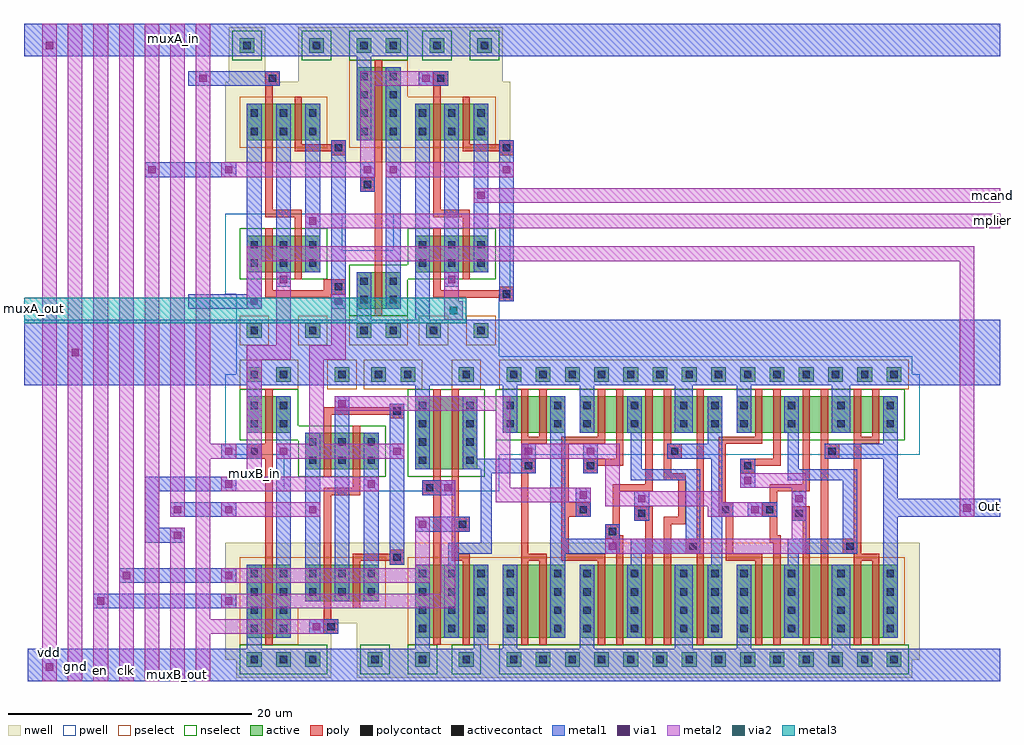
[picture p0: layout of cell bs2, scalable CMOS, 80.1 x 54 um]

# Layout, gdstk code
import gdstk
lib = gdstk.Library(unit=1e-6, precision=1e-09)
def R(c, l, rs):  # rectangles x0, y0, x1, y1
    for r in rs: c.add(gdstk.rectangle(r[:2], r[2:], *l))
def A(c, l, x, y, w, h, nx, ny, dx, dy):  # array of equal rectangles
    R(c, l, [(x+i*dx, y+j*dy, x+i*dx+w, y+j*dy+h) for i in range(nx) for j in range(ny)])
pwell = (41, 0)
nwell = (42, 0)
active = (43, 0)
pselect = (44, 0)
nselect = (45, 0)
poly = (46, 0)
polycontact = (47, 0)
activecontact = (48, 0)
metal1 = (49, 0)
via1 = (50, 0)
metal2 = (51, 0)
via2 = (61, 0)
metal3 = (62, 0)

c_______mux21_magic_mux21 = lib.new_cell('______mux21_magic_mux21')
R(c_______mux21_magic_mux21, pwell, [(-7.8,-11.7,0,-7.2), (-8.7,-7.2,0.9,-0.6)])
R(c_______mux21_magic_mux21, nwell, [(-8.7,3.6,0.9,10.2), (-8.4,10.2,-5.4,14.7), (-2.7,10.2,0.3,14.7)])
R(c_______mux21_magic_mux21, active, [(-6.9,-10.8,-5.7,-9.6), (-2.1,-10.8,-0.9,-9.6), (-6.9,-5.4,-0.9,-2.4), (-6.9,5.4,-0.9,8.4), (-7.5,12.6,-6.3,13.8), (-1.8,12.6,-0.6,13.8)])
R(c_______mux21_magic_mux21, pselect, [(-7.5,-11.4,-5.1,-9), (-2.7,-11.4,-0.3,-9), (-7.5,4.8,-0.3,9)])
R(c_______mux21_magic_mux21, nselect, [(-7.5,-6,-0.3,-1.8), (-8.1,12,-5.7,14.4), (-2.4,12,0,14.4)])
R(c_______mux21_magic_mux21, poly, [(-5.4,-7.5,0,-7.2), (-5.4,-7.2,1.2,-6.9), (-5.4,-6.9,-4.8,-1.8), (-0.6,-6.9,1.2,-6), (-3,-6,-2.4,-0.9), (-5.4,-0.9,-2.4,-0.3), (-5.4,-0.3,-4.8,9.9), (0,4.2,1.2,4.5), (-3,4.5,1.2,5.1), (-3,5.1,-2.4,9), (0,5.1,1.2,5.4), (-5.4,9.9,-4.2,11.1)])
R(c_______mux21_magic_mux21, polycontact, [(0.3,-6.9,0.9,-6.3), (0.3,4.5,0.9,5.1), (-5.1,10.2,-4.5,10.8)])
A(c_______mux21_magic_mux21, activecontact, -6.6, -4.95, 0.6, 0.6, 3, 2, 2.4, 1.5)
A(c_______mux21_magic_mux21, activecontact, -6.6, 5.85, 0.6, 0.6, 3, 2, 2.4, 1.5)
R(c_______mux21_magic_mux21, activecontact, [(-6.6,-10.5,-6,-9.9), (-1.8,-10.5,-1.2,-9.9), (-7.2,12.9,-6.6,13.5), (-1.5,12.9,-0.9,13.5)])
R(c_______mux21_magic_mux21, metal1, [(-9,-11.1,1.2,-9.3), (-9,-8.4,-5.7,-7.2), (-6.9,-7.2,-5.7,8.4), (0,-7.2,1.2,5.4), (-4.5,-5.4,-3.3,8.4), (-2.1,-5.4,-0.9,8.4), (-6.6,9.9,-4.2,11.1), (-9,12.3,1.2,14.1)])
c_______mux21_magic_mux21.add(gdstk.Label('Vdd', (-0.9,12.9), layer=49, texttype=0))
c_______mux21_magic_mux21.add(gdstk.Label('In_0', (-8.4,-7.8), layer=49, texttype=0))
c_______mux21_magic_mux21.add(gdstk.Label('in_1', (-1.5,3.15), layer=49, texttype=0))
c_______mux21_magic_mux21.add(gdstk.Label('Out', (-3.9,2.7), layer=49, texttype=0))
c_______mux21_magic_mux21.add(gdstk.Label('Sel_bar', (0.6,4.8), layer=49, texttype=0))
c_______mux21_magic_mux21.add(gdstk.Label('sel', (-6,10.5), layer=49, texttype=0))

c_______inv_magic_inverter = lib.new_cell('______inv_magic_inverter')
R(c_______inv_magic_inverter, pwell, [(-0.3,-0.9,5.1,0.6), (-1.2,0.6,6,7.2)])
R(c_______inv_magic_inverter, nwell, [(-1.2,14.4,6,24), (-0.3,24,5.1,25.5)])
R(c_______inv_magic_inverter, active, [(0.6,0,1.8,1.2), (3,0,4.2,1.2), (0.6,2.4,4.2,5.4), (0.6,16.2,4.2,22.2), (0.6,23.4,1.8,24.6), (3,23.4,4.2,24.6)])
R(c_______inv_magic_inverter, pselect, [(0,-0.6,4.8,1.8), (0,15.6,4.8,22.8)])
R(c_______inv_magic_inverter, nselect, [(0,1.8,4.8,6), (0,22.8,4.8,25.2)])
R(c_______inv_magic_inverter, poly, [(2.1,1.8,2.7,6.3), (0.6,6.3,2.7,7.5), (2.1,7.5,2.7,22.8)])
R(c_______inv_magic_inverter, polycontact, [(0.9,6.6,1.5,7.2)])
A(c_______inv_magic_inverter, activecontact, 0.9, 16.65, 0.6, 0.6, 1, 4, 0, 1.5)
A(c_______inv_magic_inverter, activecontact, 3.3, 16.65, 0.6, 0.6, 1, 4, 0, 1.5)
R(c_______inv_magic_inverter, activecontact, [(0.9,0.3,1.5,0.9), (3.3,0.3,3.9,0.9), (0.9,2.85,1.5,3.45), (3.3,2.85,3.9,3.45), (0.9,4.35,1.5,4.95), (3.3,4.35,3.9,4.95), (0.9,23.7,1.5,24.3), (3.3,23.7,3.9,24.3)])
R(c_______inv_magic_inverter, metal1, [(-1.2,-0.3,6,1.5), (0.6,1.5,1.8,5.4), (3,2.4,4.2,22.2), (-1.2,6.3,1.8,7.5), (0.6,16.2,1.8,23.1), (-1.2,23.1,6,24.9)])
c_______inv_magic_inverter.add(gdstk.Label('Y', (3.6,7.8), layer=49, texttype=0))
c_______inv_magic_inverter.add(gdstk.Label('A', (-0.6,6.6), layer=49, texttype=0))
c_______inv_magic_inverter.add(gdstk.Label('vdd', (0,24), layer=49, texttype=0))
c_______inv_magic_inverter.add(gdstk.Label('gnd', (0,0.6), layer=49, texttype=0))

c_______bc1a_magic_bc1a = lib.new_cell('______bc1a_magic_bc1a')
R(c_______bc1a_magic_bc1a, pwell, [(7.5,11.1,17.1,17.7), (9.9,17.7,16.8,20.7), (9,20.7,16.8,22.2), (3.6,22.2,11.4,22.8)])
R(c_______bc1a_magic_bc1a, nwell, [(8.4,-4.2,11.4,0.3), (13.5,-4.2,16.5,0.3), (7.5,0.3,17.1,6.9)])
R(c_______bc1a_magic_bc1a, active, [(9.3,-3.3,10.5,-2.1), (14.4,-3.3,15.6,-2.1), (9.3,2.1,15.3,5.1), (9.3,12.9,15.3,15.9), (11.7,20.1,12.9,21.3), (14.7,20.1,15.9,21.3)])
R(c_______bc1a_magic_bc1a, pselect, [(8.7,1.5,15.9,5.7), (11.1,19.5,13.5,21.9), (14.1,19.5,16.5,21.9)])
R(c_______bc1a_magic_bc1a, nselect, [(8.7,-3.9,11.1,-1.5), (13.8,-3.9,16.2,-1.5), (8.7,12.3,15.9,16.5)])
R(c_______bc1a_magic_bc1a, poly, [(10.8,-0.6,12,0.6), (10.8,0.6,11.4,10.8), (13.2,1.5,13.8,5.4), (16.2,5.1,17.4,5.4), (13.2,5.4,17.4,6), (16.2,6,17.4,6.3), (10.8,10.8,13.8,11.4), (13.2,11.4,13.8,16.5), (10.8,12.3,11.4,17.4), (16.2,17.1,17.4,17.4), (10.8,17.4,17.4,18), (16.2,18,17.4,18.3)])
R(c_______bc1a_magic_bc1a, polycontact, [(11.1,-0.3,11.7,0.3), (16.5,5.4,17.1,6), (16.5,17.4,17.1,18)])
A(c_______bc1a_magic_bc1a, activecontact, 9.6, 2.55, 0.6, 0.6, 3, 2, 2.4, 1.5)
A(c_______bc1a_magic_bc1a, activecontact, 9.6, 13.35, 0.6, 0.6, 3, 2, 2.4, 1.5)
R(c_______bc1a_magic_bc1a, activecontact, [(9.6,-3,10.2,-2.4), (14.7,-3,15.3,-2.4), (12,20.4,12.6,21), (15,20.4,15.6,21)])
R(c_______bc1a_magic_bc1a, metal1, [(-0.3,-3.6,2.7,-1.8), (9,-3.6,19.2,-2.1), (9,-2.1,17.4,-1.8), (9.6,-0.6,12,0.6), (9.3,2.1,10.5,15.9), (11.7,2.1,12.9,18.9), (14.1,2.1,15.3,15.9), (16.2,5.1,17.4,18.3), (6.9,7.8,8.1,9), (-0.3,9,3.6,10.2), (-0.3,11.1,3.6,12.3), (2.4,13.8,3.6,15), (6.9,13.8,8.1,15), (-0.3,19.8,2.7,21.3), (9,19.8,17.4,21.3), (-0.3,21.3,17.4,21.6), (-0.3,21.6,19.2,23.4), (-0.3,23.4,9,23.7), (9.9,23.4,19.2,24), (-0.3,23.7,8.4,24.9), (12.6,24,18.3,25.2), (-0.3,24.9,9,25.2), (-0.3,26.1,3.6,27.3), (11.4,26.1,12.6,27.3), (11.4,27.9,12.6,29.1), (6.9,35.4,8.1,36.6), (-0.3,44.4,6,45.6), (-0.3,46.8,9,48.6), (13.8,46.8,18.3,48.6)])
R(c_______bc1a_magic_bc1a, via1, [(9.9,-0.3,10.5,0.3), (2.7,9.3,3.3,9.9), (9.6,9.3,10.2,9.9), (2.7,11.4,3.3,12), (14.4,11.4,15,12), (2.7,14.1,3.3,14.7), (7.2,14.1,7.8,14.7), (16.5,14.1,17.1,14.7), (12,18,12.6,18.6), (11.7,26.4,12.3,27), (0.6,44.7,1.2,45.3)])
R(c_______bc1a_magic_bc1a, metal2, [(0.3,-0.6,10.8,0.6), (0.3,0.6,1.5,13.8), (9,1.5,18.6,2.7), (9,3.6,18.6,4.8), (2.4,9,10.5,10.2), (2.4,11.1,15.3,12.3), (0.3,13.8,3.6,15), (6.9,13.8,17.4,15), (0.3,15,1.5,45.6), (9.6,15,10.8,21.9), (11.7,17.7,17.4,18.9), (9.6,21.9,12.6,23.1), (11.4,23.1,12.6,27.3)])
c_______bc1a_magic_bc1a.add(gdstk.Reference(c_______mux21_magic_mux21, (11.4,34.5)))
c_______bc1a_magic_bc1a.add(gdstk.Reference(c_______inv_magic_inverter, (3.9,21.3), x_reflection=True))
c_______bc1a_magic_bc1a.add(gdstk.Label('a_in', (4.2,9.6), layer=51, texttype=0))
c_______bc1a_magic_bc1a.add(gdstk.Label('b_in', (4.2,11.7), layer=51, texttype=0))
c_______bc1a_magic_bc1a.add(gdstk.Label('gnd', (2.4,22.5), layer=49, texttype=0))
c_______bc1a_magic_bc1a.add(gdstk.Label('reg_in', (2.1,26.7), layer=49, texttype=0))

c_______nand_magic_nand = lib.new_cell('______nand_magic_nand')
R(c_______nand_magic_nand, pwell, [(-1.5,-1.5,6.3,0), (-1.5,0,7.5,1.5), (-1.2,1.5,7.5,9.6)])
R(c_______nand_magic_nand, nwell, [(-1.2,13.8,8.4,23.4), (-0.3,23.4,6.3,24.9)])
R(c_______nand_magic_nand, active, [(-0.6,-0.6,0.6,0.6), (4.2,-0.6,5.4,0.6), (0.6,1.8,5.7,7.8), (0.6,15.6,6.6,21.6), (0.6,22.8,1.8,24), (4.2,22.8,5.4,24)])
R(c_______nand_magic_nand, pselect, [(-1.2,-1.2,1.2,1.2), (3.6,-1.2,6,1.2), (0,15,7.2,22.2)])
R(c_______nand_magic_nand, nselect, [(0,1.2,6.3,8.4), (0,22.2,2.4,24.6), (3.6,22.2,6,24.6)])
R(c_______nand_magic_nand, poly, [(2.1,1.2,2.7,8.7), (3.6,1.2,4.2,11.7), (1.2,8.7,2.7,9.9), (2.1,9.9,2.7,22.2), (3.6,11.7,5.1,12.9), (3.6,12.9,4.2,14.7), (3.6,14.7,5.1,15.3), (4.5,15.3,5.1,22.2)])
R(c_______nand_magic_nand, polycontact, [(1.5,9,2.1,9.6), (4.2,12,4.8,12.6)])
A(c_______nand_magic_nand, activecontact, 0.9, 2.25, 0.6, 0.6, 1, 4, 0, 1.5)
A(c_______nand_magic_nand, activecontact, 4.8, 2.25, 0.6, 0.6, 1, 4, 0, 1.5)
A(c_______nand_magic_nand, activecontact, 0.9, 16.05, 0.6, 0.6, 3, 4, 2.4, 1.5)
R(c_______nand_magic_nand, activecontact, [(-0.3,-0.3,0.3,0.3), (4.5,-0.3,5.1,0.3), (0.9,23.1,1.5,23.7), (4.5,23.1,5.1,23.7)])
R(c_______nand_magic_nand, metal1, [(-1.2,-0.9,8.4,0.9), (0.6,0.9,1.8,7.8), (4.5,1.8,5.7,6.9), (4.5,6.9,6.9,7.8), (6,7.8,6.9,13.8), (1.2,8.7,2.4,9.9), (0.6,11.7,5.1,12.9), (3.3,13.8,6.9,14.7), (3.3,14.7,4.2,15.6), (0.6,15.6,1.8,22.5), (3,15.6,4.2,21.6), (5.4,15.6,6.6,22.5), (-1.2,22.5,8.4,23.7), (-0.3,23.7,8.4,24.3)])
c_______nand_magic_nand.add(gdstk.Label('gnd', (3,0), layer=49, texttype=0))
c_______nand_magic_nand.add(gdstk.Label('vdd', (3,23.4), layer=49, texttype=0))
c_______nand_magic_nand.add(gdstk.Label('A', (2.4,8.4), layer=46, texttype=0))
c_______nand_magic_nand.add(gdstk.Label('B', (3.9,8.4), layer=46, texttype=0))

c_______dffpos_magic_dffpo = lib.new_cell('______dffpos_magic_dffpos')
R(c_______dffpos_magic_dffpo, pwell, [(6.6,17.7,42.6,24.3), (7.8,24.3,42,25.8)])
R(c_______dffpos_magic_dffpo, nwell, [(7.8,-0.6,42,0.9), (6.6,0.9,42.6,10.5)])
A(c_______dffpos_magic_dffpo, active, 8.7, 0.3, 1.2, 1.2, 14, 2, 2.4, 23.4)
R(c_______dffpos_magic_dffpo, active, [(8.4,2.7,13.5,8.7), (14.7,2.7,26.4,8.7), (27.6,2.7,40.8,8.7), (8.4,19.5,13.5,22.5), (14.7,19.5,26.4,22.5), (27.6,19.5,40.8,22.5)])
R(c_______dffpos_magic_dffpo, pselect, [(7.8,2.1,41.4,9.3), (8.1,23.1,41.7,25.5)])
R(c_______dffpos_magic_dffpo, nselect, [(8.1,-0.3,41.7,2.1), (7.8,18.9,41.4,23.1)])
R(c_______dffpos_magic_dffpo, poly, [(9.9,2.1,10.5,9), (11.4,2.1,12,9), (16.2,2.1,16.8,9), (17.7,2.1,18.3,10.5), (20.1,2.1,20.7,12.3), (21.6,2.1,22.2,12), (24.3,2.1,24.9,9.6), (29.1,2.1,29.7,9), (30.6,2.1,31.2,10.5), (33,2.1,33.6,12.3), (34.5,2.1,35.1,17.4), (37.2,2.1,37.8,9), (38.7,2.1,39.3,9), (9.9,9,12,9.6), (13.2,9,16.8,9.6), (26.7,9,29.7,9.6), (37.2,9,39.3,9.6), (9.9,9.6,10.5,16.2), (13.2,9.6,13.8,12.6), (23.4,9.6,24.9,10.8), (26.7,9.6,27.3,12.6), (36.3,9.6,37.8,10.8), (17.4,10.5,18.3,10.8), (30.3,10.5,31.2,11.1), (16.8,10.8,18.3,11.1), (24.3,10.8,24.9,23.1), (37.2,10.8,37.8,18.6), (16.8,11.1,18,12), (30.3,11.1,30.9,12.6), (17.4,12,18,14.7), (21.6,12,23.4,12.6), (19.2,12.3,20.7,13.5), (32.1,12.3,33.6,13.5), (13.2,12.6,15.6,13.8), (22.8,12.6,23.4,15.6), (26.1,12.6,27.3,13.8), (29.7,12.6,30.9,13.8), (13.2,13.8,13.8,18.6), (26.1,13.8,26.7,18.6), (30.3,13.8,30.9,14.7), (17.4,14.7,20.7,15.3), (30.3,14.7,33.6,15.3), (20.1,15.3,20.7,23.1), (33,15.3,33.6,23.1), (21.6,15.6,23.4,16.2), (9.9,16.2,11.1,17.4), (15,16.2,16.2,16.8), (21.6,16.2,22.2,17.4), (27.9,16.2,29.1,16.8), (15,16.8,18.3,17.4), (27.9,16.8,31.2,17.4), (9.9,17.4,10.5,18.6), (17.7,17.4,18.3,23.1), (21.6,17.4,23.1,18.6), (30.6,17.4,31.2,23.1), (34.5,17.4,36,18.6), (9.9,18.6,12,19.2), (13.2,18.6,16.8,19.2), (21.6,18.6,22.2,23.1), (26.1,18.6,29.7,19.2), (34.5,18.6,35.1,23.1), (37.2,18.6,39.3,19.2), (9.9,19.2,10.5,23.1), (11.4,19.2,12,23.1), (16.2,19.2,16.8,23.1), (29.1,19.2,29.7,23.1), (37.2,19.2,37.8,23.1), (38.7,19.2,39.3,23.1)])
R(c_______dffpos_magic_dffpo, polycontact, [(23.7,9.9,24.3,10.5), (36.6,9.9,37.2,10.5), (17.1,11.1,17.7,11.7), (19.5,12.6,20.1,13.2), (32.4,12.6,33,13.2), (14.7,12.9,15.3,13.5), (26.4,12.9,27,13.5), (30,12.9,30.6,13.5), (10.2,16.5,10.8,17.1), (15.3,16.5,15.9,17.1), (28.2,16.5,28.8,17.1), (22.2,17.7,22.8,18.3), (35.1,17.7,35.7,18.3)])
A(c_______dffpos_magic_dffpo, activecontact, 9, 0.6, 0.6, 0.6, 14, 2, 2.4, 23.4)
A(c_______dffpos_magic_dffpo, activecontact, 8.7, 3.15, 0.6, 0.6, 1, 4, 0, 1.5)
A(c_______dffpos_magic_dffpo, activecontact, 12.6, 3.15, 0.6, 0.6, 1, 4, 0, 1.5)
A(c_______dffpos_magic_dffpo, activecontact, 15, 3.15, 0.6, 0.6, 1, 4, 0, 1.5)
A(c_______dffpos_magic_dffpo, activecontact, 18.9, 3.15, 0.6, 0.6, 1, 4, 0, 1.5)
A(c_______dffpos_magic_dffpo, activecontact, 22.95, 3.15, 0.6, 0.6, 1, 4, 0, 1.5)
A(c_______dffpos_magic_dffpo, activecontact, 25.5, 3.15, 0.6, 0.6, 1, 4, 0, 1.5)
A(c_______dffpos_magic_dffpo, activecontact, 27.9, 3.15, 0.6, 0.6, 1, 4, 0, 1.5)
A(c_______dffpos_magic_dffpo, activecontact, 31.8, 3.15, 0.6, 0.6, 3, 4, 4.05, 1.5)
A(c_______dffpos_magic_dffpo, activecontact, 31.8, 19.95, 0.6, 0.6, 3, 2, 4.05, 1.5)
R(c_______dffpos_magic_dffpo, activecontact, [(8.7,19.95,9.3,20.55), (12.6,19.95,13.2,20.55), (15,19.95,15.6,20.55), (18.9,19.95,19.5,20.55), (22.95,19.95,23.55,20.55), (25.5,19.95,26.1,20.55), (27.9,19.95,28.5,20.55), (8.7,21.45,9.3,22.05), (12.6,21.45,13.2,22.05), (15,21.45,15.6,22.05), (18.9,21.45,19.5,22.05), (22.95,21.45,23.55,22.05), (25.5,21.45,26.1,22.05), (27.9,21.45,28.5,22.05)])
R(c_______dffpos_magic_dffpo, metal1, [(5.4,0,41.7,1.8), (8.4,1.8,9.6,8.7), (14.7,1.8,15.9,8.7), (22.5,1.8,24,8.7), (27.6,1.8,28.8,8.7), (35.4,1.8,36.9,8.7), (12.3,2.7,13.5,9.6), (18.6,2.7,19.8,8.7), (25.2,2.7,26.4,8.7), (31.5,2.7,32.7,8.7), (39.6,2.7,40.8,17.4), (18.9,8.7,19.8,9.6), (25.5,8.7,26.4,12.6), (31.8,8.7,32.7,9.6), (6.6,9.6,7.5,16.2), (12.3,9.6,18,10.8), (18.9,9.6,24.6,10.8), (31.8,9.6,37.5,10.8), (12.3,10.8,13.5,22.5), (16.8,10.8,18,12), (23.4,10.8,24.6,15.6), (36.3,10.8,37.5,15.6), (19.2,12.3,20.4,14.7), (32.1,12.3,33.3,14.7), (14.4,12.6,15.6,15), (25.5,12.6,27.3,13.8), (28.5,12.6,30.9,13.8), (25.5,13.8,26.4,17.4), (27.9,15,29.1,17.4), (18.9,15.6,24.6,16.5), (31.8,15.6,37.5,16.5), (6.6,16.2,11.1,17.4), (15,16.2,16.2,18.6), (18.9,16.5,19.8,19.5), (31.8,16.5,32.7,19.5), (9.9,17.4,11.1,18.6), (21.9,17.4,26.4,18.6), (34.8,17.4,40.8,18.6), (25.2,18.6,26.4,22.5), (39.6,18.6,40.8,22.5), (8.4,19.5,9.6,23.4), (14.7,19.5,15.9,23.4), (18.6,19.5,19.8,22.5), (22.5,19.5,24,23.4), (27.6,19.5,28.8,23.4), (31.5,19.5,32.7,22.5), (35.4,19.5,36.9,23.4), (5.4,23.4,41.7,25.2)])
R(c_______dffpos_magic_dffpo, via1, [(17.1,9.9,17.7,10.5), (28.8,12.9,29.4,13.5), (19.5,13.8,20.1,14.4), (32.4,13.8,33,14.4), (14.7,14.1,15.3,14.7), (28.2,15.3,28.8,15.9), (10.2,17.7,10.8,18.3), (15.3,17.7,15.9,18.3)])
R(c_______dffpos_magic_dffpo, metal2, [(16.8,9.6,33.3,10.8), (32.1,10.8,33.3,15), (25.2,12.6,29.7,13.5), (16.8,13.5,29.7,13.8), (7.8,13.8,15.6,15), (16.8,13.8,26.4,14.7), (16.8,14.7,18,17.4), (7.8,15,9,21.3), (27.9,15,33.3,16.2), (9.9,17.4,18,18.6), (6.6,21.3,9,22.5)])
c_______dffpos_magic_dffpo.add(gdstk.Label('D', (7.2,21.9), layer=51, texttype=0))
c_______dffpos_magic_dffpo.add(gdstk.Label('clk_b', (6.9,13.5), layer=49, texttype=0))
c_______dffpos_magic_dffpo.add(gdstk.Label('clk', (12.9,13.5), layer=49, texttype=0))
c_______dffpos_magic_dffpo.add(gdstk.Label('Q', (40.5,13.5), layer=49, texttype=0))

bs2 = lib.new_cell('bs2')
R(bs2, pwell, [(24,24.3,24.9,25.8), (11.4,25.8,25.2,30.9), (11.7,30.9,26.1,34.5), (16.5,34.5,26.1,37.5)])
R(bs2, nwell, [(16.5,-0.6,17.4,0.9), (24,-0.6,24.9,0.9), (11.7,41.7,26.1,48.3), (11.7,48.3,25.5,52.8)])
R(bs2, active, [(13.5,27.3,14.7,28.5), (15.9,27.3,17.1,28.5), (19.2,27.3,20.4,28.5), (23.1,27.3,24.3,28.5), (13.5,29.7,17.1,32.7), (18.3,32.7,24.3,35.7), (13.5,43.5,17.1,49.5), (18.3,43.5,24.3,46.5), (13.5,50.7,14.7,51.9), (15.9,50.7,17.1,51.9), (19.5,50.7,20.7,51.9), (23.4,50.7,24.6,51.9)])
R(bs2, pselect, [(12.9,26.7,17.7,29.1), (18.6,26.7,21,29.1), (22.5,26.7,24.9,29.1), (12.9,42.9,24.9,47.1), (12.9,47.1,17.7,50.1)])
R(bs2, nselect, [(12.9,29.1,17.7,32.1), (12.9,32.1,24.9,33.3), (17.7,33.3,24.9,36.3), (12.9,50.1,17.7,52.5), (18.9,50.1,21.3,52.5), (22.8,50.1,25.2,52.5)])
R(bs2, poly, [(15,29.1,15.6,39.3), (25.2,30.3,26.4,30.6), (19.8,30.6,26.4,31.2), (19.8,31.2,20.4,36.3), (25.2,31.2,26.4,31.5), (22.2,32.1,22.8,37.2), (19.8,37.2,22.8,37.8), (19.8,37.8,20.4,48), (13.8,39.3,15.6,40.5), (15,40.5,15.6,50.1), (25.2,42.3,26.4,42.6), (22.2,42.6,26.4,43.2), (22.2,43.2,22.8,47.1), (25.2,43.2,26.4,43.5), (19.8,48,21,49.2)])
R(bs2, polycontact, [(25.5,30.6,26.1,31.2), (14.1,39.6,14.7,40.2), (25.5,42.6,26.1,43.2), (20.1,48.3,20.7,48.9)])
A(bs2, activecontact, 18.6, 33.15, 0.6, 0.6, 3, 2, 2.4, 1.5)
A(bs2, activecontact, 13.8, 43.95, 0.6, 0.6, 5, 2, 2.4, 1.5)
R(bs2, activecontact, [(13.8,27.6,14.4,28.2), (16.2,27.6,16.8,28.2), (19.5,27.6,20.1,28.2), (23.4,27.6,24,28.2), (13.8,30.15,14.4,30.75), (16.2,30.15,16.8,30.75), (13.8,31.65,14.4,32.25), (16.2,31.65,16.8,32.25), (13.8,46.95,14.4,47.55), (16.2,46.95,16.8,47.55), (13.8,48.45,14.4,49.05), (16.2,48.45,16.8,49.05), (13.8,51,14.4,51.6), (16.2,51,16.8,51.6), (19.8,51,20.4,51.6), (23.7,51,24.3,51.6)])
R(bs2, metal1, [(-13.5,-0.9,66.3,0.3), (-13.5,0.3,26.1,1.8), (27.9,0.3,66.3,1.8), (-8.1,5.1,3.6,6.3), (-6,7.2,3.6,8.4), (-3.9,10.5,-0.6,11.7), (18.3,11.4,19.5,12.6), (20.1,11.4,21.3,12.6), (-3.9,11.7,-2.7,14.7), (-1.8,12.6,-0.3,13.8), (57.9,12.6,66.3,14.1), (19.8,14.4,21.6,15.6), (-3.9,14.7,-0.3,15.9), (25.8,16.2,26.1,17.4), (-13.8,23.4,-0.3,28.8), (19.2,23.4,26.1,24.9), (27.9,23.4,66.3,24.9), (19.2,24.9,66.3,26.7), (15.6,26.7,66.3,27.3), (13.2,27.3,66.3,28.8), (13.5,28.8,14.7,32.7), (18.3,28.8,19.5,46.5), (4.5,29.7,5.7,30.9), (15.9,29.7,17.1,49.5), (25.2,30.3,26.4,43.5), (6.9,31.5,8.1,32.7), (20.7,31.5,21.9,46.5), (23.1,32.7,24.3,46.5), (9.3,36.3,10.5,37.5), (6.9,38.4,8.1,39.6), (13.8,39.3,15,41.7), (-3.9,40.5,3.6,41.7), (13.5,43.5,14.7,50.4), (18.6,48,21,49.2), (-13.8,50.4,-0.3,52.2), (12.3,50.4,66.3,52.2), (-13.8,52.2,66.3,53.1)])
R(bs2, via1, [(-12,0,-11.4,0.6), (-7.8,5.4,-7.2,6), (2.7,5.4,3.3,6), (-5.7,7.5,-5.1,8.1), (2.7,7.5,3.3,8.1), (-1.5,10.8,-0.9,11.4), (18.6,11.7,19.2,12.3), (-1.5,12.9,-0.9,13.5), (63.3,13.05,63.9,13.65), (20.7,14.7,21.3,15.3), (-9.9,25.8,-9.3,26.4), (4.8,30,5.4,30.6), (7.2,31.8,7.8,32.4), (21,31.8,21.6,32.4), (9.6,36.6,10.2,37.2), (23.4,38.7,24,39.3), (-3.6,40.8,-3,41.4), (2.7,40.8,3.3,41.4), (14.1,40.8,14.7,41.4), (16.2,40.8,16.8,41.4), (25.5,40.8,26.1,41.4), (18.9,48.3,19.5,48.9), (-12,51,-11.4,51.6)])
A(bs2, metal2, -12.3, -0.9, 1.2, 54, 5, 1, 2.1, 0)
R(bs2, metal2, [(-1.8,-0.9,-0.6,11.7), (0.3,-0.9,1.5,3), (2.4,5.1,16.8,6.3), (18.6,5.1,21.6,6.3), (20.4,6.3,21.6,15.6), (2.4,7.2,16.8,8.4), (18.3,7.2,19.5,12.6), (-1.8,12.6,-0.6,53.1), (63,12.6,64.2,33.6), (4.5,15.6,5.7,25.5), (17.4,21.3,26.1,22.5), (4.5,25.5,8.1,26.7), (6.9,26.7,8.1,32.7), (20.7,28.8,22.2,30.3), (4.5,29.7,5.7,33.6), (20.7,30.3,21.9,32.7), (4.5,33.6,64.2,34.8), (9.3,36.3,66.3,37.5), (23.1,38.4,66.3,39.6), (2.4,40.5,15,41.7), (15.9,40.5,26.4,41.7), (13.8,41.7,15,48), (13.8,48,19.8,49.2), (0.3,49.2,1.5,53.1)])
R(bs2, via2, [(21.15,29.25,21.75,29.85)])
R(bs2, metal3, [(-13.8,28.5,22.5,30.6)])
bs2.add(gdstk.Reference(c_______bc1a_magic_bc1a, (0,3.6)))
bs2.add(gdstk.Reference(c_______nand_magic_nand, (17.7,24.3), x_reflection=True))
bs2.add(gdstk.Reference(c_______dffpos_magic_dffpo, (17.1,0)))
bs2.add(gdstk.Label('Out', (65.4,13.5), layer=49, texttype=0))
bs2.add(gdstk.Label('muxB_in', (5.1,16.2), layer=51, texttype=0))
bs2.add(gdstk.Label('muxA_in', (-1.5,51.9), layer=51, texttype=0))
bs2.add(gdstk.Label('muxB_out', (-1.2,-0.3), layer=51, texttype=0))
bs2.add(gdstk.Label('mplier', (65.7,36.9), layer=51, texttype=0))
bs2.add(gdstk.Label('mcand', (65.7,39), layer=51, texttype=0))
bs2.add(gdstk.Label('q0', (-3.3,51.9), layer=51, texttype=0))
bs2.add(gdstk.Label('vdd', (-11.7,1.5), layer=51, texttype=0))
bs2.add(gdstk.Label('gnd', (-9.6,0.3), layer=51, texttype=0))
bs2.add(gdstk.Label('en', (-7.5,0), layer=51, texttype=0))
bs2.add(gdstk.Label('clk', (-5.4,0), layer=51, texttype=0))
bs2.add(gdstk.Label('Init', (0.9,-0.3), layer=51, texttype=0))
bs2.add(gdstk.Label('muxA_out', (-12.9,29.7), layer=62, texttype=0))

lib.write_gds('bs2.gds')
